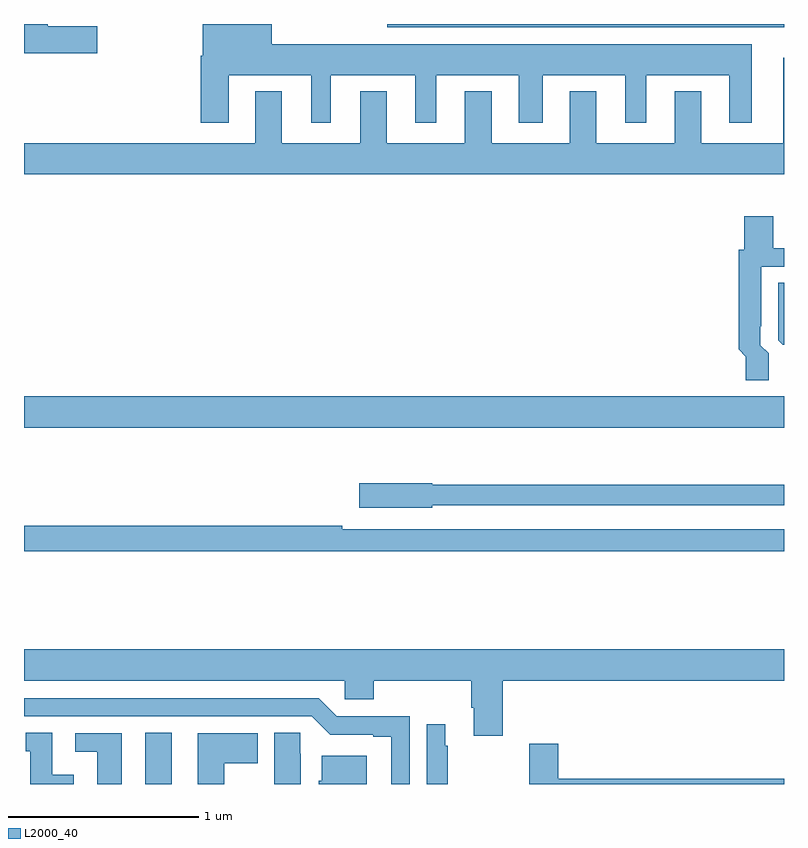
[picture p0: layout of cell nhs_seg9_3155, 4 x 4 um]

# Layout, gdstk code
import gdstk
lib = gdstk.Library(unit=1e-6, precision=1e-09)
def R(c, l, rs):  # rectangles x0, y0, x1, y1
    for r in rs: c.add(gdstk.rectangle(r[:2], r[2:], *l))
def P(c, l, *ps):  # polygons
    for p in ps: c.add(gdstk.Polygon(p, *l))
L2000_40 = (2000, 40)

nhs_seg9_3155 = lib.new_cell('nhs_seg9_3155')
R(nhs_seg9_3155, L2000_40, [(291.638,1238.5,291.778,1238.771), (291,1240.376,295,1240.54), (292.911,1242.482,295,1242.5)])
P(nhs_seg9_3155, L2000_40, [(292.078,1242.23),(292.511,1242.23),(292.511,1241.979),(292.615,1241.979),(292.615,1242.23),(293.06,1242.23),(293.06,1241.979),(293.17,1241.979),(293.17,1242.23),(293.603,1242.23),(293.603,1241.979),(293.731,1241.979),(293.731,1242.23),(294.164,1242.23),(294.164,1241.979),(294.274,1241.979),(294.274,1242.23),(294.713,1242.23),(294.713,1241.979),(294.829,1241.979),(294.829,1242.394),(292.303,1242.394),(292.303,1242.5),(291.941,1242.5),(291.941,1242.334),(291.929,1242.334),(291.929,1241.979),(292.078,1241.979)],
  [(291.385,1242.488),(291.124,1242.488),(291.124,1242.5),(291,1242.5),(291,1242.346),(291.385,1242.346)],
  [(295,1242.322),(294.995,1242.322),(294.995,1241.872),(294.565,1241.872),(294.565,1242.145),(294.425,1242.145),(294.425,1241.872),(294.013,1241.872),(294.013,1242.145),(293.873,1242.145),(293.873,1241.872),(293.461,1241.872),(293.461,1242.145),(293.321,1242.145),(293.321,1241.872),(292.909,1241.872),(292.909,1242.145),(292.769,1242.145),(292.769,1241.872),(292.357,1241.872),(292.357,1242.145),(292.217,1242.145),(292.217,1241.872),(291,1241.872),(291,1241.708),(295,1241.708)],
  [(294.919,1240.766),(294.876,1240.809),(294.876,1240.909),(294.879,1240.909),(294.879,1241.223),(295,1241.223),(295,1241.32),(294.943,1241.32),(294.943,1241.488),(294.791,1241.488),(294.791,1241.313),(294.763,1241.313),(294.763,1240.97),(294.761,1240.97),(294.761,1240.788),(294.799,1240.749),(294.799,1240.626),(294.919,1240.626)],
  [(295,1241.138),(294.969,1241.138),(294.969,1240.836),(294.993,1240.813),(295,1240.813)],
  [(293.148,1239.966),(295,1239.966),(295,1240.075),(293.148,1240.075),(293.148,1240.083),(292.764,1240.083),(292.764,1239.953),(293.148,1239.953)],
  [(295,1239.84),(292.676,1239.84),(292.676,1239.86),(291,1239.86),(291,1239.724),(295,1239.724)],
  [(293.519,1239.044),(295,1239.044),(295,1239.208),(291,1239.208),(291,1239.044),(292.689,1239.044),(292.689,1238.946),(292.841,1238.946),(292.841,1239.044),(293.354,1239.044),(293.354,1238.902),(293.366,1238.902),(293.366,1238.754),(293.519,1238.754)],
  [(293.031,1238.856),(292.647,1238.856),(292.551,1238.952),(291,1238.952),(291,1238.856),(292.515,1238.856),(292.611,1238.76),(292.838,1238.76),(292.838,1238.748),(292.934,1238.748),(292.934,1238.5),(293.031,1238.5)],
  [(293.23,1238.702),(293.218,1238.702),(293.218,1238.815),(293.121,1238.815),(293.121,1238.5),(293.23,1238.5)],
  [(292.456,1238.66),(292.455,1238.66),(292.455,1238.771),(292.316,1238.771),(292.316,1238.5),(292.456,1238.5)],
  [(291.262,1238.548),(291.148,1238.548),(291.148,1238.771),(291.008,1238.771),(291.008,1238.673),(291.032,1238.673),(291.032,1238.5),(291.262,1238.5)],
  [(292.054,1238.608),(292.231,1238.608),(292.231,1238.767),(291.914,1238.767),(291.914,1238.5),(292.054,1238.5)],
  [(291.514,1238.766),(291.27,1238.766),(291.27,1238.67),(291.386,1238.67),(291.386,1238.5),(291.514,1238.5)],
  [(295,1238.528),(293.813,1238.528),(293.813,1238.713),(293.659,1238.713),(293.659,1238.5),(295,1238.5)],
  [(292.804,1238.65),(292.568,1238.65),(292.568,1238.517),(292.55,1238.517),(292.55,1238.5),(292.804,1238.5)])

lib.write_gds('nhs_seg9_3155.gds')
